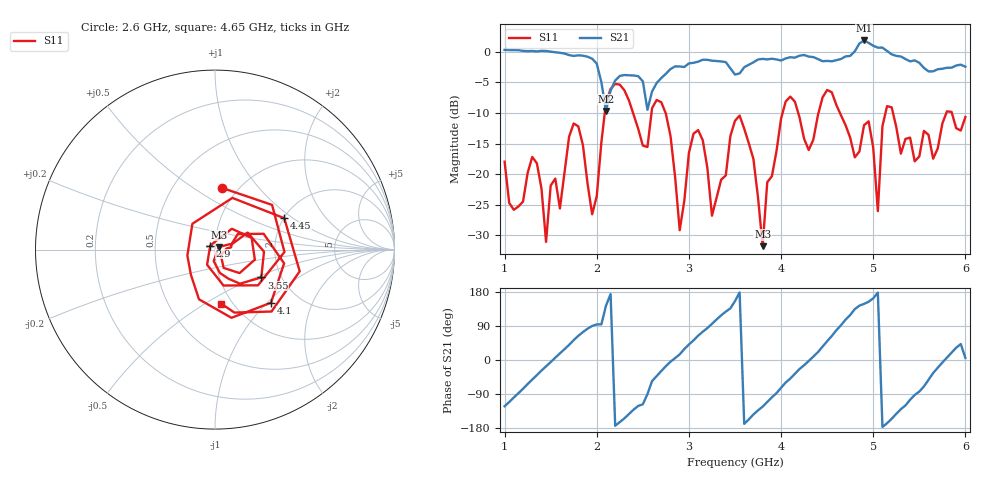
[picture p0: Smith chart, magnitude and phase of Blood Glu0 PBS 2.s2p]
! NanoVNA-App
! Date: 2024-03-21 11:35:15
! Start: 1GHz Stop: 6GHz Points: 101
! S-Parameter data: F S11 S21 S12 S22
# Hz S RI R 50
!	Frequency	S11_Real	S11_Imag	S21_Real	S21_Imag	S12_Real	S12_Imag	S22_Real	S22_Imag
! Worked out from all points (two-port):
!   101 points, 1 GHz to 6 GHz, reference 50 ohm
!   highest |S21| = 1.85 dB at 4.9 GHz (marker M1); lowest = -9.7 dB at 2.1 GHz (marker M2)
!   |S21| within 3 dB of the highest: start of sweep to 1.951 GHz; 4.653 GHz to 5.345 GHz (692 MHz wide, 13.8 % of centre)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
!   lowest |S11| = -31.8 dB at 3.8 GHz (marker M3), VSWR 1.05, Z = 52.2 + j1.5 ohm
!   |S11| at or under -10 dB: start of sweep to 2.087 GHz; 2.747 GHz to 4.016 GHz (1.27 GHz wide, 37.5 % of centre); 5.214 GHz to 5.793 GHz (578.9 MHz wide, 10.5 % of centre)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
!   S12 and S22 are empty: the file has one direction only
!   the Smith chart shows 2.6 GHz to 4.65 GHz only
!   S11 on the Smith chart (normalised r, x): 2.6 GHz: 0.84, +0.66; 2.9 GHz: 0.95, +0.04; 3.55 GHz: 1.58, -0.54; 4.1 GHz: 1.45, -1.06; 4.45 GHz: 2.01, +0.86; 4.65 GHz: 0.89, -0.59
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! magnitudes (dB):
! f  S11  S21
! 1 GHz  -18.0  0.3
! 1.35 GHz  -18.2  0.1
! 1.45 GHz  -31.1  0.1
! 1.85 GHz  -15.3  -0.6
! 1.95 GHz  -26.6  -1.1
! 2.1 GHz  -8.3  -9.7
! 2.6 GHz  -9.2  -6.5
! 2.7 GHz  -8.2  -4.3
! 2.9 GHz  -29.2  -2.4
! 3.05 GHz  -13.4  -1.8
! 3.25 GHz  -26.8  -1.5
! 3.5 GHz  -11.3  -3.7
! 3.55 GHz  -10.4  -3.5
! 3.8 GHz  -31.8  -1.2
! 4.1 GHz  -7.3  -0.9
! 4.35 GHz  -14.4  -0.9
! 4.45 GHz  -7.5  -1.5
! 4.65 GHz  -10.4  -1.2
! 4.9 GHz  -12.0  1.9
! 5.05 GHz  -26.0  0.7
! 5.2 GHz  -9.1  -0.4
! 6 GHz  -10.7  -2.4
